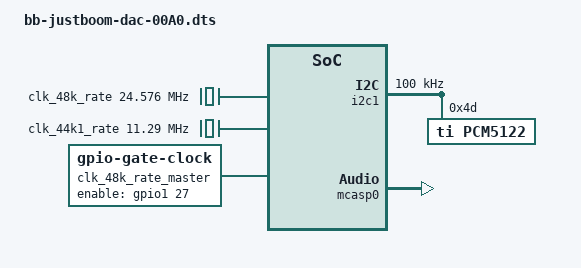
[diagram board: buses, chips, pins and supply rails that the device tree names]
/*
 * Copyright (C) 2012 Texas Instruments Incorporated - http://www.ti.com/
 *
 * This program is free software; you can redistribute it and/or modify
 * it under the terms of the GNU General Public License version 2 as
 * published by the Free Software Foundation.
 */
/dts-v1/;
/plugin/;

/ {
	compatible = "ti,beaglebone", "ti,beaglebone-black";

	/* identification */
	part-number = "bb-justboom-dac";
	version = "00A0";

	/* state the resources this cape uses */
	exclusive-use =
		/* the pin header uses */
		"P9.31",	/* mcasp0: mcasp0_aclkx */
		"P9.29",	/* mcasp0: mcasp0_fsx */
		"P9.28",	/* mcasp0: mcasp0_axr2 */
		"P9.25",	/* mcasp0: mcasp0_ahclkx */
		/* the hardware ip uses */
		"gpio1_27",
		"mcasp0";

	fragment@0 {
		target = <&am33xx_pinmux>;
		__overlay__ {

			i2c1_pins: pinmux_i2c1_pins {
				pinctrl-single,pins = <
					0x158 0x72 	/*spi0_d1.i2c1_sda,SLEWCTRL_SLOW | INPUT_PULLUP |MODE2*/
					0x15c 0x72	/*spi0_cs0.i2c1_scl,SLEWCTRL_SLOW | INPUT_PULLUP | MODE2*/
				>;
			};

			bone_audio_cape_audio_pins: pinmux_bone_audio_cape_audio_pins {
				pinctrl-single,pins = <
					0x1ac 0x20      /* mcasp0_ahclkx,             MODE0 | INPUT_PULLDOWN */
					0x19c 0x02		/* mcasp0_ahclkr, 			  MODE2 | OUTPUT_PULLDOWN */
					0x194 0x00      /* mcasp0_fsx,         	      MODE0 | OUTPUT_PULLDOWN  */
					0x190 0x00      /* mcasp0_aclkr.mcasp0_aclkx, MODE0 | OUTPUT_PULLDOWN */ 
					0x06c 0x07		/* gpio1_27, 				  MODE7 | OUTPUT_PULLDOWN */
				>;
			};
		};
	};

	fragment@1 {
		target = <&i2c1>;
		__overlay__ {
			#address-cells = <1>;
			#size-cells = <0>;
			clock-frequency = <100000>;
			status = "okay";
			pinctrl-names = "default";
			pinctrl-0 = <&i2c1_pins>;

			pcm5122: pcm5122@4d {
				compatible = "ti,pcm5122";
				reg = <0x4d>;
				/*pll-in = <3>;*/
				/*pll-out = <6>;*/
				/*clocks = <&clk_48k_rate_master &clk_44k1_rate>;*/
				status = "okay";
			};
		};
	};

	fragment@2 {
		target = <&mcasp0>;
		__overlay__ {
			pinctrl-names = "default";
			pinctrl-0 = <&bone_audio_cape_audio_pins>;

			status = "okay";

			op-mode = <0>;          /* MCASP_IIS_MODE */
			tdm-slots = <2>;
			num-serializer = <16>;
			serial-dir = <  /* 0: INACTIVE, 1: TX, 2: RX */
				0 0 1 0
				0 0 0 0
				0 0 0 0
				0 0 0 0
			>;
			tx-num-evt = <1>;
			rx-num-evt = <1>;
		};
	};

	fragment@3 {
		target = <&ocp>;
		__overlay__ {
		
			clk_48k_rate: clk_48k_rate {
				#clock-cells = <0>;
				compatible = "fixed-clock";
				clock-frequency = <24576000>;
			};
			
			clk_44k1_rate: clk_44k1_rate {
				#clock-cells = <0>;
				compatible = "fixed-clock";
				clock-frequency = <11289600>;
			};

			clk_48k_rate_master: clk_48k_rate_master {
				#clock-cells = <0>;
				compatible = "gpio-gate-clock"; 
				clocks = <&clk_48k_rate>;
				enable-gpios = <&gpio1 27 0>; /* BeagleBone Black Clk enable on GPIO1_27 */
			};
			
			sound {
				compatible = "justboom,justboom-dac";
				model = "bb_justboom_dac";
				audio-codec = <&pcm5122>;
				mcasp-controller = <&mcasp0>;
				clocks = <&clk_48k_rate_master &clk_44k1_rate>;
				clock-names = "mclk_48k", "mclk_44k1";
				clk-44k1-rate-en-gpio = <6>;
				led-gpio = <4>;
				24db_digital_gain = "justboom,24db_digital_gain?";
			};
		};
	};
	 
	/*__overrides__ {
		24db_digital_gain = <&frag3>,"justboom,24db_digital_gain?";
	};*/
};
